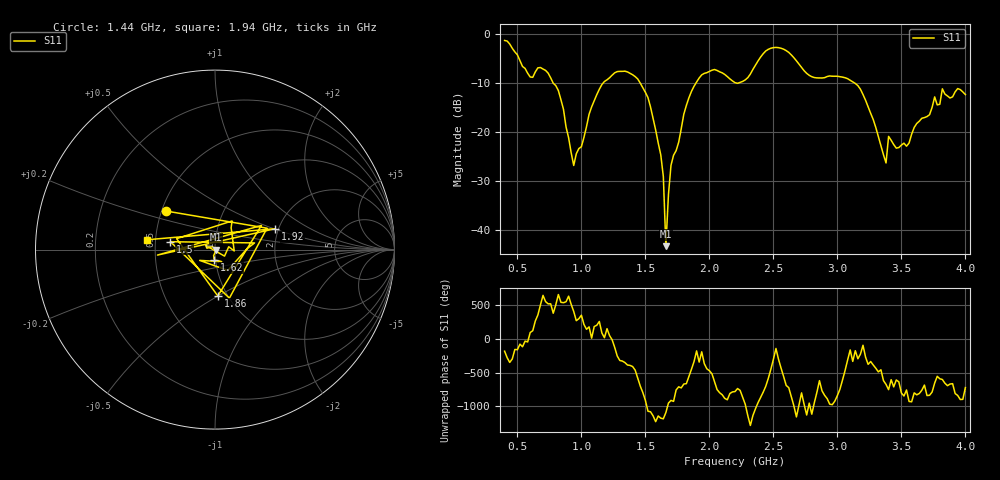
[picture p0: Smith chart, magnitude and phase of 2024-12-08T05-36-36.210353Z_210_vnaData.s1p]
!Created with skrf (http://scikit-rf.org).
# Hz S RI R 50.0
!freq ReS11 ImS11
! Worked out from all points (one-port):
!   181 points, 400 MHz to 4 GHz, reference 50 ohm
!   lowest |S11| = -43.4 dB at 1.66 GHz (marker M1), VSWR 1.01, Z = 50.7 - j0.115 ohm
!   |S11| at or under -10 dB: 778.5 MHz to 1.171 GHz (392.9 MHz wide, 40.3 % of centre); 1.458 GHz to 1.896 GHz (438.1 MHz wide, 26.1 % of centre); 3.132 GHz to end of sweep (the widest 3 of 4)
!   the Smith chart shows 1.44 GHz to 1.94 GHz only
!   S11 on the Smith chart (normalised r, x): 1.44 GHz: 0.53, +0.26; 1.5 GHz: 0.60, +0.06; 1.62 GHz: 0.99, -0.12; 1.86 GHz: 0.90, -0.50; 1.92 GHz: 1.91, +0.51; 1.94 GHz: 0.45, +0.06
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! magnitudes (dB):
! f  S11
! 400 MHz  -1.4
! 600 MHz  -8.8
! 740 MHz  -8.0
! 860 MHz  -15.4
! 940 MHz  -26.9
! 1.14 GHz  -11.3
! 1.3 GHz  -7.7
! 1.44 GHz  -9.2
! 1.5 GHz  -12.0
! 1.62 GHz  -24.7
! 1.64 GHz  -29.1
! 1.66 GHz  -43.4
! 1.7 GHz  -26.8
! 1.76 GHz  -22.1
! 1.86 GHz  -11.7
! 1.92 GHz  -9.0
! 1.94 GHz  -8.4
! 2.2 GHz  -10.0
! 2.48 GHz  -2.9
! 2.66 GHz  -4.9
! 2.8 GHz  -8.8
! 3.1 GHz  -9.5
! 3.22 GHz  -13.6
! 3.38 GHz  -26.4
! 3.4 GHz  -21.0
! 3.56 GHz  -22.3
! 3.82 GHz  -11.2
! 4 GHz  -12.4
